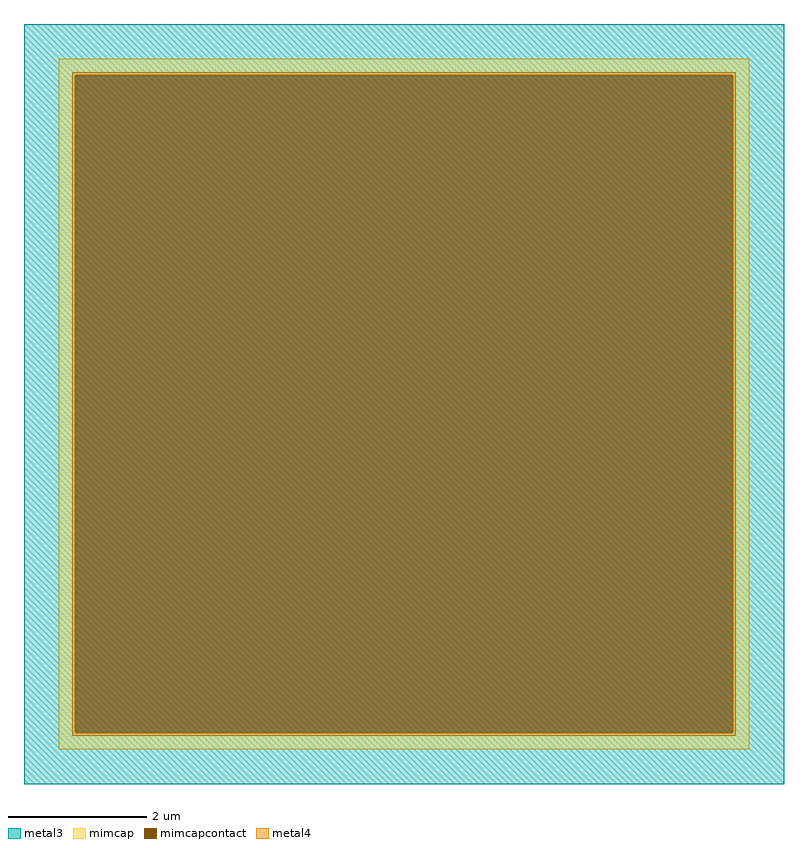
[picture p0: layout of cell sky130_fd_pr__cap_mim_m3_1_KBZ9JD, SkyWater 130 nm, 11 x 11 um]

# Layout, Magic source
magic
tech sky130A
magscale 1 2
<< metal3 >>
rect -1150 -1100 1050 1100
<< mimcap >>
rect -1050 952 950 1000
rect -1050 -952 -1002 952
rect 902 -952 950 952
rect -1050 -1000 950 -952
<< mimcapcontact >>
rect -1002 -952 902 952
<< metal4 >>
rect -1011 952 911 961
rect -1011 -952 -1002 952
rect 902 -952 911 952
rect -1011 -961 911 -952
<< properties >>
string FIXED_BBOX -1150 -1100 1050 1100
<< end >>
